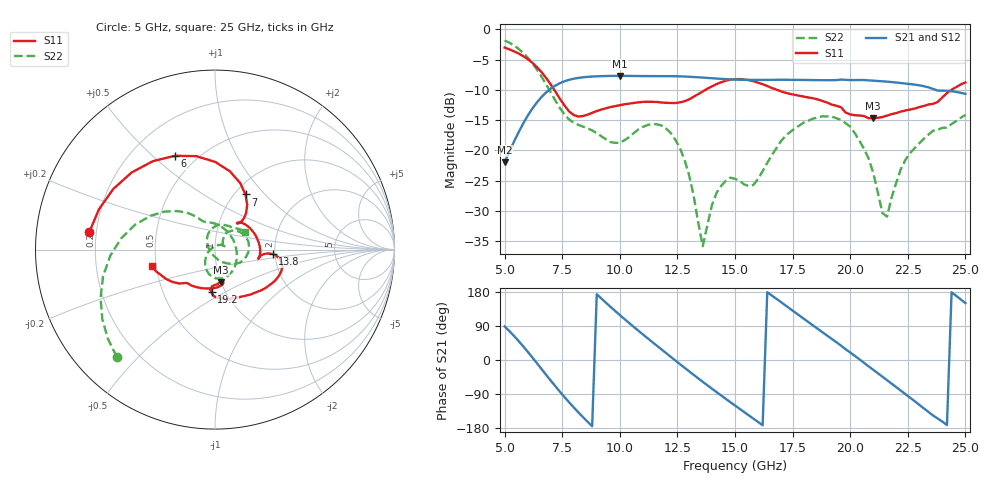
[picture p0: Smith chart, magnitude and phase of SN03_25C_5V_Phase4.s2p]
!File name = SN03_25C_5V_Phase4.s2p
!Date = 2/3/2014
!Time = 2:34 PM
!Test duration(min) = 0.07
!Test = SPars
!MPTS version = 7.120.8
!Comments =
!set_LD1(binary) = 4
!set_LD2(binary) = 524283
!test = SPars
!date_code = 20140203
!file_name = SN03_25C_5V_Phase4.s2p
!VREF(V) = 5.000
!VREF(mA) = 0.002
# GHz  S  DB  R  50
!%	Freq(GHz)  S11(dB)  S11(deg)  S21(dB)  S21(deg)  S12(dB)  S12(deg)  S22(dB)  S22(deg)
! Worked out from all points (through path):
!   101 points, 5 GHz to 25 GHz, reference 50 ohm
!   highest |S21| = -7.69 dB at 10 GHz (marker M1); lowest = -22.0 dB at 5 GHz (marker M2)
!   lowest |S11| = -14.7 dB at 21 GHz (marker M3), VSWR 1.45, Z = 50 - j18.7 ohm
!   |S11| at or under -10 dB: 7.157 GHz to 13.71 GHz (6.558 GHz wide, 62.8 % of centre); 16.83 GHz to 24.39 GHz (7.561 GHz wide, 36.7 % of centre)
!   |S22| runs from -35.8 to -1.8 dB; largest |S21 - S12| = 0.00078
!   S11 on the Smith chart (normalised r, x): 5 GHz: 0.17, +0.07; 6 GHz: 0.38, +0.59; 7 GHz: 1.12, +0.78; 13.8 GHz: 1.95, -0.11; 19.2 GHz: 0.86, -0.44; 25 GHz: 0.47, -0.10
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5  -3.01 172.2  -21.99 88.7  -22.00 88.7  -1.83 -132.6
6  -4.91 113.1  -14.28 22.0  -14.29 22.0  -4.65 -176.5
7  -9.09 61.0  -9.80 -54.1  -9.82 -54.1  -10.41 134.6
7.6  -12.58 47.1  -8.57 -97.9  -8.59 -97.8  -14.07 117.9
8.4  -14.33 50.4  -7.92 -150.6  -7.93 -150.7  -16.07 104.6
10  -12.54 22.9  -7.69 118.7  -7.69 118.7  -18.75 11.6
11.8  -12.08 -10.8  -7.73 28.4  -7.75 28.4  -15.88 -88.2
12.8  -11.89 -7.9  -7.79 -20.0  -7.80 -20.0  -21.43 -130.6
13.6  -10.26 -4.2  -7.97 -57.5  -7.98 -57.5  -35.84 120.5
13.8  -9.80 -4.4  -8.02 -66.7  -8.03 -66.7  -32.38 70.6
14.2  -9.05 -6.7  -8.13 -84.8  -8.14 -84.8  -27.00 36.2
15  -8.23 -15.4  -8.30 -120.0  -8.31 -120.0  -24.71 12.2
15.8  -8.57 -29.0  -8.35 -154.9  -8.37 -154.8  -25.70 32.8
16.6  -9.70 -47.2  -8.34 170.2  -8.35 170.2  -20.77 56.1
18.4  -11.40 -87.1  -8.38 90.6  -8.39 90.6  -14.73 25.2
19.2  -12.43 -94.6  -8.40 55.7  -8.40 55.6  -14.43 0.7
20  -14.06 -91.2  -8.38 19.7  -8.38 19.7  -16.08 -27.6
21  -14.70 -79.3  -8.48 -25.8  -8.48 -25.9  -23.70 -70.0
21.4  -14.48 -75.6  -8.58 -44.1  -8.59 -44.2  -30.36 -119.7
21.8  -14.00 -78.1  -8.71 -62.5  -8.71 -62.6  -27.75 160.5
23.4  -12.41 -123.3  -9.58 -137.3  -9.59 -137.4  -17.39 85.5
25  -8.77 -165.9  -10.65 150.3  -10.66 150.3  -14.13 30.8
